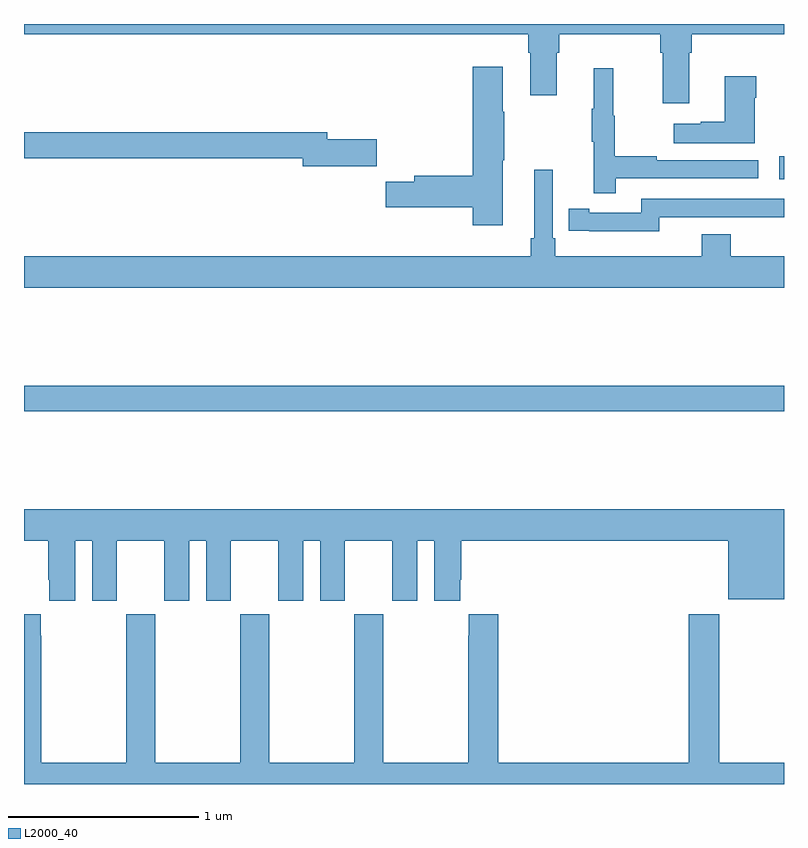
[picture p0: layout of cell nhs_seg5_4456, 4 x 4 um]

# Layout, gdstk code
import gdstk
lib = gdstk.Library(unit=1e-6, precision=1e-09)
def R(c, l, rs):  # rectangles x0, y0, x1, y1
    for r in rs: c.add(gdstk.rectangle(r[:2], r[2:], *l))
def P(c, l, *ps):  # polygons
    for p in ps: c.add(gdstk.Polygon(p, *l))
L2000_40 = (2000, 40)

nhs_seg5_4456 = lib.new_cell('nhs_seg5_4456')
R(nhs_seg5_4456, L2000_40, [(373,870.76,377,870.896), (376.974,871.983,377,872.103)])
P(nhs_seg5_4456, L2000_40, [(376.501,872.648),(376.514,872.648),(376.514,872.744),(377,872.744),(377,872.799),(373,872.799),(373,872.744),(375.653,872.744),(375.653,872.648),(375.665,872.648),(375.665,872.424),(375.805,872.424),(375.805,872.648),(375.818,872.648),(375.818,872.744),(376.349,872.744),(376.349,872.648),(376.361,872.648),(376.361,872.382),(376.501,872.382)],
  [(375.52,872.083),(375.528,872.083),(375.528,872.336),(375.52,872.336),(375.52,872.575),(375.362,872.575),(375.362,872),(375.053,872),(375.053,871.97),(374.904,871.97),(374.904,871.835),(375.362,871.835),(375.362,871.74),(375.52,871.74)],
  [(376.115,871.986),(376.864,871.986),(376.864,872.082),(376.331,872.082),(376.331,872.102),(376.108,872.102),(376.108,872.316),(376.1,872.316),(376.1,872.566),(375.998,872.566),(375.998,872.353),(375.987,872.353),(375.987,872.179),(375.998,872.179),(375.998,871.908),(376.115,871.908)],
  [(376.846,872.411),(376.854,872.411),(376.854,872.524),(376.688,872.524),(376.688,872.285),(376.562,872.285),(376.562,872.275),(376.419,872.275),(376.419,872.171),(376.846,872.171)],
  [(374.857,872.192),(374.596,872.192),(374.596,872.228),(373,872.228),(373,872.092),(374.468,872.092),(374.468,872.05),(374.857,872.05)],
  [(377,871.576),(376.721,871.576),(376.721,871.693),(376.568,871.693),(376.568,871.576),(375.797,871.576),(375.797,871.672),(375.783,871.672),(375.783,872.032),(375.686,872.032),(375.686,871.672),(375.667,871.672),(375.667,871.576),(373,871.576),(373,871.412),(377,871.412)],
  [(376.344,871.782),(376.804,871.782),(376.804,871.781),(377,871.781),(377,871.878),(376.248,871.878),(376.248,871.806),(375.976,871.806),(375.976,871.826),(375.868,871.826),(375.868,871.71),(375.976,871.71),(375.976,871.709),(376.344,871.709)],
  [(373.27,870.08),(373.358,870.08),(373.358,869.763),(373.489,869.763),(373.489,870.08),(373.739,870.08),(373.739,869.763),(373.87,869.763),(373.87,870.08),(373.958,870.08),(373.958,869.763),(374.089,869.763),(374.089,870.08),(374.339,870.08),(374.339,869.763),(374.47,869.763),(374.47,870.08),(374.558,870.08),(374.558,869.763),(374.689,869.763),(374.689,870.08),(374.939,870.08),(374.939,869.763),(375.07,869.763),(375.07,870.08),(375.158,870.08),(375.158,869.763),(375.295,869.763),(375.295,869.875),(375.302,869.875),(375.302,870.08),(376.706,870.08),(376.706,869.771),(377,869.771),(377,870.244),(373,870.244),(373,870.08),(373.127,870.08),(373.127,869.875),(373.133,869.875),(373.133,869.763),(373.27,869.763)],
  [(377,868.912),(376.659,868.912),(376.659,869.692),(376.499,869.692),(376.499,868.912),(375.497,868.912),(375.497,869.692),(375.341,869.692),(375.341,869.579),(375.337,869.579),(375.337,868.912),(374.892,868.912),(374.892,869.692),(374.737,869.692),(374.737,868.912),(374.292,868.912),(374.292,869.692),(374.137,869.692),(374.137,868.912),(373.692,868.912),(373.692,869.692),(373.537,869.692),(373.537,868.912),(373.092,868.912),(373.092,869.579),(373.087,869.579),(373.087,869.692),(373,869.692),(373,868.799),(377,868.799)])

lib.write_gds('nhs_seg5_4456.gds')
